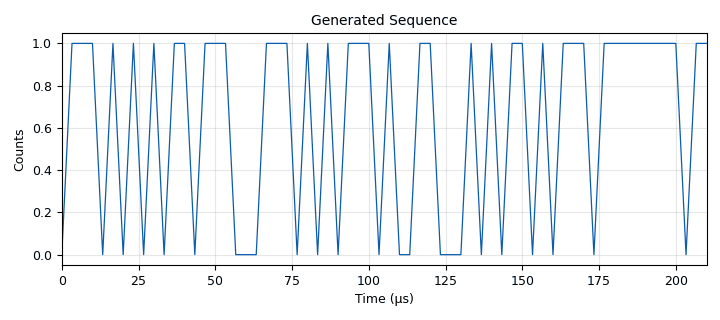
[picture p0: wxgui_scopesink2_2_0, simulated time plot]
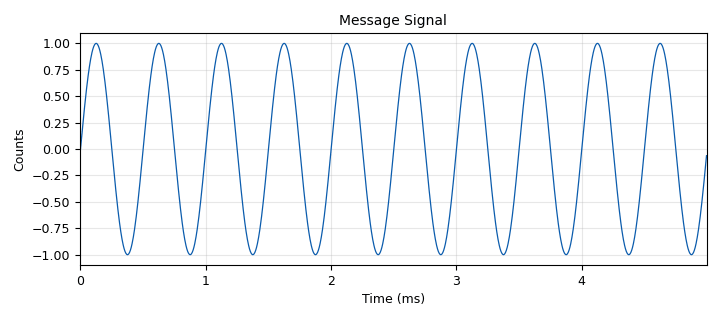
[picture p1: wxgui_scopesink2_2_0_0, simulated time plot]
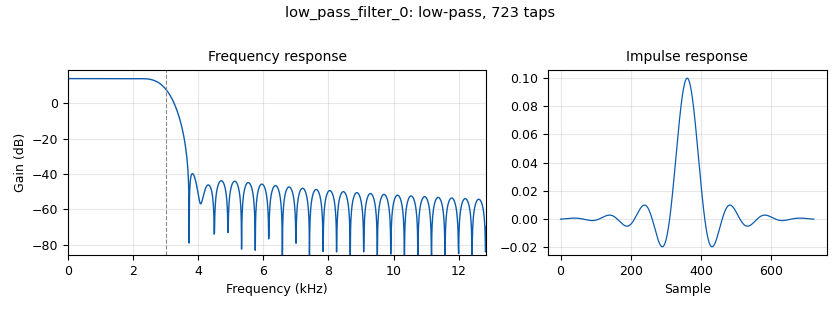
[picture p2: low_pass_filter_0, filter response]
<?xml version='1.0' encoding='utf-8'?>
<?grc format='1' created='3.7.11'?>
<flow_graph>
<block>
<key>options</key>
<param><key>id</key><value>dsss_tx_rx</value></param>
<param><key>author</key><value>AKADEMIKA Lab Solution</value></param>
<param><key>category</key><value>Custom</value></param>
<param><key>description</key><value>Modulation method used is BPSK modulation</value></param>
<param><key>generate_options</key><value>wx_gui</value></param>
<param><key>title</key><value>DSSS Transmitter and Receiver</value></param>
</block>
<block>
<key>variable</key>
<param><key>id</key><value>samp_rate</value></param>
<param><key>value</key><value>300000</value></param>
</block>
<block>
<key>akademika_sink</key>
<param><key>id</key><value>akademika_sink_0</value></param>
<param><key>attenuation</key><value>10.0</value></param>
<param><key>buffer_size</key><value>0x8000</value></param>
<param><key>cyclic</key><value>False</value></param>
<param><key>auto_filter</key><value>True</value></param>
<param><key>filter</key><value></value></param>
<param><key>uri</key><value>ip:akademika.local</value></param>
<param><key>frequency</key><value>400000000</value></param>
<param><key>bandwidth</key><value>20000000</value></param>
<param><key>samplerate</key><value>2084000</value></param>
</block>
<block>
<key>akademika_source</key>
<param><key>id</key><value>akademika_source_0</value></param>
<param><key>bbdc</key><value>True</value></param>
<param><key>buffer_size</key><value>0x8000</value></param>
<param><key>uri</key><value>ip:akademika.local</value></param>
<param><key>auto_filter</key><value>True</value></param>
<param><key>filter</key><value></value></param>
<param><key>gain</key><value>"manual"</value></param>
<param><key>frequency</key><value>400000000</value></param>
<param><key>manual_gain</key><value>64.0</value></param>
<param><key>quadrature</key><value>True</value></param>
<param><key>rfdc</key><value>True</value></param>
<param><key>bandwidth</key><value>20000000</value></param>
<param><key>samplerate</key><value>2084000</value></param>
</block>
<block>
<key>analog_random_source_x</key>
<param><key>id</key><value>analog_random_source_x_0</value></param>
<param><key>max</key><value>2</value></param>
<param><key>min</key><value>0</value></param>
<param><key>num_samps</key><value>100000</value></param>
<param><key>type</key><value>byte</value></param>
<param><key>repeat</key><value>True</value></param>
</block>
<block>
<key>analog_random_source_x</key>
<param><key>id</key><value>analog_random_source_x_0_0</value></param>
<param><key>max</key><value>2</value></param>
<param><key>min</key><value>0</value></param>
<param><key>num_samps</key><value>100000</value></param>
<param><key>type</key><value>byte</value></param>
<param><key>repeat</key><value>True</value></param>
</block>
<block>
<key>analog_sig_source_x</key>
<param><key>id</key><value>analog_sig_source_x_0</value></param>
<param><key>amp</key><value>1</value></param>
<param><key>freq</key><value>2000</value></param>
<param><key>offset</key><value>0</value></param>
<param><key>type</key><value>float</value></param>
<param><key>samp_rate</key><value>samp_rate</value></param>
<param><key>waveform</key><value>analog.GR_COS_WAVE</value></param>
</block>
<block>
<key>blocks_char_to_float</key>
<param><key>id</key><value>blocks_char_to_float_0</value></param>
<param><key>scale</key><value>1</value></param>
</block>
<block>
<key>blocks_char_to_float</key>
<param><key>id</key><value>blocks_char_to_float_0_0</value></param>
<param><key>scale</key><value>1</value></param>
</block>
<block>
<key>blocks_complex_to_float</key>
<param><key>id</key><value>blocks_complex_to_float_0</value></param>
</block>
<block>
<key>blocks_float_to_complex</key>
<param><key>id</key><value>blocks_float_to_complex_0</value></param>
</block>
<block>
<key>blocks_multiply_xx</key>
<param><key>id</key><value>blocks_multiply_xx_0</value></param>
<param><key>type</key><value>float</value></param>
</block>
<block>
<key>blocks_multiply_xx</key>
<param><key>id</key><value>blocks_multiply_xx_1</value></param>
<param><key>type</key><value>float</value></param>
</block>
<block>
<key>low_pass_filter</key>
<param><key>id</key><value>low_pass_filter_0</value></param>
<param><key>cutoff_freq</key><value>3000</value></param>
<param><key>decim</key><value>1</value></param>
<param><key>type</key><value>fir_filter_fff</value></param>
<param><key>gain</key><value>5</value></param>
<param><key>samp_rate</key><value>samp_rate</value></param>
<param><key>width</key><value>1000</value></param>
<param><key>win</key><value>firdes.WIN_HAMMING</value></param>
</block>
<block>
<key>note</key>
<param><key>id</key><value>note_0</value></param>
<param><key>note</key><value>modulation</value></param>
</block>
<block>
<key>note</key>
<param><key>id</key><value>note_0_0</value></param>
<param><key>note</key><value>demodulation</value></param>
</block>
<block>
<key>note</key>
<param><key>id</key><value>note_0_1</value></param>
<param><key>note</key><value>transmitter</value></param>
</block>
<block>
<key>note</key>
<param><key>id</key><value>note_0_1_0</value></param>
<param><key>note</key><value>receiver</value></param>
</block>
<block>
<key>notebook</key>
<param><key>id</key><value>notebook_0</value></param>
<param><key>labels</key><value>['Message Signal','Generated Sequence', 'Recovered Signal', 'Spectrum of Recovered Signal']</value></param>
<param><key>style</key><value>wx.NB_TOP</value></param>
</block>
<block>
<key>rational_resampler_xxx</key>
<param><key>id</key><value>rational_resampler_xxx_0</value></param>
<param><key>decim</key><value>1</value></param>
<param><key>interp</key><value>5</value></param>
<param><key>taps</key><value></value></param>
<param><key>type</key><value>ccc</value></param>
</block>
<block>
<key>rational_resampler_xxx</key>
<param><key>id</key><value>rational_resampler_xxx_0_0</value></param>
<param><key>decim</key><value>5</value></param>
<param><key>interp</key><value>1</value></param>
<param><key>taps</key><value></value></param>
<param><key>type</key><value>ccc</value></param>
</block>
<block>
<key>wxgui_fftsink2</key>
<param><key>id</key><value>wxgui_fftsink2_0</value></param>
<param><key>avg_alpha</key><value>0</value></param>
<param><key>average</key><value>False</value></param>
<param><key>baseband_freq</key><value>0</value></param>
<param><key>fft_size</key><value>1024</value></param>
<param><key>freqvar</key><value>None</value></param>
<param><key>grid_pos</key><value>2,0,1,1</value></param>
<param><key>notebook</key><value>notebook_0,3</value></param>
<param><key>peak_hold</key><value>False</value></param>
<param><key>ref_level</key><value>0</value></param>
<param><key>ref_scale</key><value>2.0</value></param>
<param><key>fft_rate</key><value>15</value></param>
<param><key>samp_rate</key><value>samp_rate</value></param>
<param><key>title</key><value>Spectrum of Recovered Signal</value></param>
<param><key>type</key><value>float</value></param>
<param><key>win</key><value>None</value></param>
<param><key>y_divs</key><value>10</value></param>
<param><key>y_per_div</key><value>10</value></param>
</block>
<block>
<key>wxgui_scopesink2</key>
<param><key>id</key><value>wxgui_scopesink2_2</value></param>
<param><key>ac_couple</key><value>False</value></param>
<param><key>grid_pos</key><value>2,0,1,1</value></param>
<param><key>notebook</key><value>notebook_0,2</value></param>
<param><key>num_inputs</key><value>1</value></param>
<param><key>samp_rate</key><value>samp_rate</value></param>
<param><key>t_scale</key><value>0</value></param>
<param><key>title</key><value>Recovered Signal</value></param>
<param><key>trig_mode</key><value>wxgui.TRIG_MODE_AUTO</value></param>
<param><key>type</key><value>float</value></param>
<param><key>v_offset</key><value>0</value></param>
<param><key>v_scale</key><value>0</value></param>
<param><key>xy_mode</key><value>False</value></param>
<param><key>y_axis_label</key><value>Counts</value></param>
</block>
<block>
<key>wxgui_scopesink2</key>
<param><key>id</key><value>wxgui_scopesink2_2_0</value></param>
<param><key>ac_couple</key><value>False</value></param>
<param><key>grid_pos</key><value>2,0,1,1</value></param>
<param><key>notebook</key><value>notebook_0,1</value></param>
<param><key>num_inputs</key><value>1</value></param>
<param><key>samp_rate</key><value>samp_rate</value></param>
<param><key>t_scale</key><value>0</value></param>
<param><key>title</key><value>Generated Sequence</value></param>
<param><key>trig_mode</key><value>wxgui.TRIG_MODE_AUTO</value></param>
<param><key>type</key><value>float</value></param>
<param><key>v_offset</key><value>0</value></param>
<param><key>v_scale</key><value>0</value></param>
<param><key>xy_mode</key><value>False</value></param>
<param><key>y_axis_label</key><value>Counts</value></param>
</block>
<block>
<key>wxgui_scopesink2</key>
<param><key>id</key><value>wxgui_scopesink2_2_0_0</value></param>
<param><key>ac_couple</key><value>False</value></param>
<param><key>grid_pos</key><value>2,0,1,1</value></param>
<param><key>notebook</key><value>notebook_0,0</value></param>
<param><key>num_inputs</key><value>1</value></param>
<param><key>samp_rate</key><value>samp_rate</value></param>
<param><key>t_scale</key><value>0</value></param>
<param><key>title</key><value>Message Signal</value></param>
<param><key>trig_mode</key><value>wxgui.TRIG_MODE_AUTO</value></param>
<param><key>type</key><value>float</value></param>
<param><key>v_offset</key><value>0</value></param>
<param><key>v_scale</key><value>0</value></param>
<param><key>xy_mode</key><value>False</value></param>
<param><key>y_axis_label</key><value>Counts</value></param>
</block>
<connection><source_block_id>akademika_source_0</source_block_id><sink_block_id>rational_resampler_xxx_0_0</sink_block_id><source_key>0</source_key><sink_key>0</sink_key></connection>
<connection><source_block_id>analog_random_source_x_0</source_block_id><sink_block_id>blocks_char_to_float_0</sink_block_id><source_key>0</source_key><sink_key>0</sink_key></connection>
<connection><source_block_id>analog_random_source_x_0_0</source_block_id><sink_block_id>blocks_char_to_float_0_0</sink_block_id><source_key>0</source_key><sink_key>0</sink_key></connection>
<connection><source_block_id>analog_sig_source_x_0</source_block_id><sink_block_id>blocks_multiply_xx_0</sink_block_id><source_key>0</source_key><sink_key>0</sink_key></connection>
<connection><source_block_id>analog_sig_source_x_0</source_block_id><sink_block_id>wxgui_scopesink2_2_0_0</sink_block_id><source_key>0</source_key><sink_key>0</sink_key></connection>
<connection><source_block_id>blocks_char_to_float_0</source_block_id><sink_block_id>blocks_multiply_xx_0</sink_block_id><source_key>0</source_key><sink_key>1</sink_key></connection>
<connection><source_block_id>blocks_char_to_float_0</source_block_id><sink_block_id>wxgui_scopesink2_2_0</sink_block_id><source_key>0</source_key><sink_key>0</sink_key></connection>
<connection><source_block_id>blocks_char_to_float_0_0</source_block_id><sink_block_id>blocks_multiply_xx_1</sink_block_id><source_key>0</source_key><sink_key>1</sink_key></connection>
<connection><source_block_id>blocks_complex_to_float_0</source_block_id><sink_block_id>blocks_multiply_xx_1</sink_block_id><source_key>0</source_key><sink_key>0</sink_key></connection>
<connection><source_block_id>blocks_float_to_complex_0</source_block_id><sink_block_id>rational_resampler_xxx_0</sink_block_id><source_key>0</source_key><sink_key>0</sink_key></connection>
<connection><source_block_id>blocks_multiply_xx_0</source_block_id><sink_block_id>blocks_float_to_complex_0</sink_block_id><source_key>0</source_key><sink_key>0</sink_key></connection>
<connection><source_block_id>blocks_multiply_xx_1</source_block_id><sink_block_id>low_pass_filter_0</sink_block_id><source_key>0</source_key><sink_key>0</sink_key></connection>
<connection><source_block_id>low_pass_filter_0</source_block_id><sink_block_id>wxgui_fftsink2_0</sink_block_id><source_key>0</source_key><sink_key>0</sink_key></connection>
<connection><source_block_id>low_pass_filter_0</source_block_id><sink_block_id>wxgui_scopesink2_2</sink_block_id><source_key>0</source_key><sink_key>0</sink_key></connection>
<connection><source_block_id>rational_resampler_xxx_0</source_block_id><sink_block_id>akademika_sink_0</sink_block_id><source_key>0</source_key><sink_key>0</sink_key></connection>
<connection><source_block_id>rational_resampler_xxx_0_0</source_block_id><sink_block_id>blocks_complex_to_float_0</sink_block_id><source_key>0</source_key><sink_key>0</sink_key></connection>
</flow_graph>
